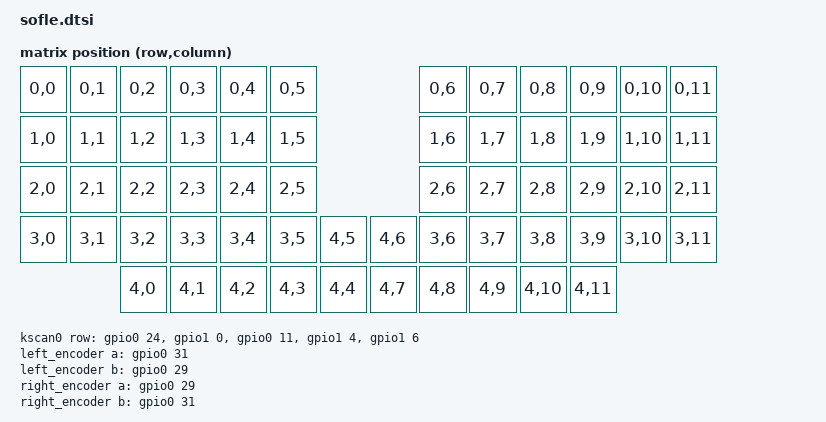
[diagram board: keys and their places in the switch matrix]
/*
* pro_micro == D
* nrf       == gpio
*                    _________________________
*                    |o B+               B- o|
*                    |o RAW             006 o| gpio0 6  D1    LED
*                    |o GND             008 o| gpio0 8  D0    DATA
*                    |o RST             GND o|
*                    |o VCC             GND o|
* ENCA  D21 gpio0 31 |o 031  SuperMini  017 o| gpio0 17 D2    SDA
* ENCB  D20 gpio0 29 |o 029  NRF52840   020 o| gpio0 20 D3    SCL
* COL0  D19 gpio0 2  |o 002             022 o| gpio0 22 D4    
* COL1  D18 gpio1 15 |o 115             024 o| gpio0 24 D5    ROW0
* COL2  D15 gpio1 13 |o 113 o VDD 1 1 1 100 o| gpio1 0  D6    ROW1
* COL3  D14 gpio1 11 |o 111 o DIO 0 0 0 011 o| gpio0 11 D7    ROW2
* COL4  D16 gpio0 10 |o 010 o CLK 7 2 1 104 o| gpio1 4  D8    ROW3
* SW25A D10 gpio0 9  |o 009 o GND o o o 106 o| gpio1 6  D9    ROW4
*                    -------------------------
*                                 | | \ gpio1 1
*                                 | \__ gpio1 2
*                                 \____ gpio1 7
*/

#include <dt-bindings/zmk/matrix_transform.h>
#include <layouts/josefadamcik/sofle.dtsi>

&josefadamcik_sofle_layout {
    transform = <&default_transform>;
};

/ {
    chosen {
        zmk,kscan = &kscan0;
        zmk,battery = &vbatt;
        zephyr,display = &oled;
    };

    default_transform: keymap_transform_0 {
        compatible = "zmk,matrix-transform";
        columns = <16>;
        rows = <4>;
// | SW6  | SW5  | SW4  | SW3  | SW2  | SW1  |                 | SW1  | SW2  | SW3  | SW4  | SW5  | SW6  |
// | SW12 | SW11 | SW10 | SW9  | SW8  | SW7  |                 | SW7  | SW8  | SW9  | SW10 | SW11 | SW12 |
// | SW18 | SW17 | SW16 | SW15 | SW14 | SW13 |                 | SW13 | SW14 | SW15 | SW16 | SW17 | SW18 |
// | SW24 | SW23 | SW22 | SW21 | SW20 | SW19 | SW25 |   | SW25 | SW19 | SW20 | SW21 | SW22 | SW23 | SW24 |
//               | SW30 | SW29 | SW28 | SW27 | SW26 |   | SW26 | SW27 | SW28 | SW29 | SW30 |
        map = <
RC(0,0) RC(0,1) RC(0,2) RC(0,3) RC(0,4) RC(0,5)                 RC(0,6) RC(0,7) RC(0,8)  RC(0,9) RC(0,10) RC(0,11)
RC(1,0) RC(1,1) RC(1,2) RC(1,3) RC(1,4) RC(1,5)                 RC(1,6) RC(1,7) RC(1,8)  RC(1,9) RC(1,10) RC(1,11)
RC(2,0) RC(2,1) RC(2,2) RC(2,3) RC(2,4) RC(2,5)                 RC(2,6) RC(2,7) RC(2,8)  RC(2,9) RC(2,10) RC(2,11)
RC(3,0) RC(3,1) RC(3,2) RC(3,3) RC(3,4) RC(3,5) RC(4,5) RC(4,6) RC(3,6) RC(3,7) RC(3,8)  RC(3,9) RC(3,10) RC(3,11)
                RC(4,0) RC(4,1) RC(4,2) RC(4,3) RC(4,4) RC(4,7) RC(4,8) RC(4,9) RC(4,10) RC(4,11)
        >;
    };

    kscan0: kscan {
        compatible = "zmk,kscan-gpio-matrix";
        wakeup-source;

        diode-direction = "col2row";
        row-gpios
            = <&gpio0 24 (GPIO_ACTIVE_HIGH | GPIO_PULL_DOWN)>,
              <&gpio1 0  (GPIO_ACTIVE_HIGH | GPIO_PULL_DOWN)>,
              <&gpio0 11 (GPIO_ACTIVE_HIGH | GPIO_PULL_DOWN)>,
              <&gpio1 4  (GPIO_ACTIVE_HIGH | GPIO_PULL_DOWN)>,
              <&gpio1 6  (GPIO_ACTIVE_HIGH | GPIO_PULL_DOWN)>;
    };

    left_encoder: encoder_left {
        compatible = "alps,ec11";
        a-gpios = <&gpio0 31 (GPIO_ACTIVE_HIGH | GPIO_PULL_UP)>;
        b-gpios = <&gpio0 29 (GPIO_ACTIVE_HIGH | GPIO_PULL_UP)>;
        steps = <80>; // realStep*4
        status = "disabled";
    };

    right_encoder: encoder_right {
        compatible = "alps,ec11";
        a-gpios = <&gpio0 29 (GPIO_ACTIVE_HIGH | GPIO_PULL_UP)>;
        b-gpios = <&gpio0 31 (GPIO_ACTIVE_HIGH | GPIO_PULL_UP)>;
        steps = <80>; // realStep*4
        status = "disabled";
    };

    sensors: sensors {
        compatible = "zmk,keymap-sensors";
        sensors = <&left_encoder &right_encoder>;
        triggers-per-rotation = <20>; // realStep
    };
};

&pinctrl {
    i2c0_default: i2c0_default {
        group1 {
            psels = <NRF_PSEL(TWIM_SDA, 0, 17)>,
                    <NRF_PSEL(TWIM_SCL, 0, 20)>;
        };
    };

    i2c0_sleep: i2c0_sleep {
        group1 {
            psels = <NRF_PSEL(TWIM_SDA, 0, 17)>,
                    <NRF_PSEL(TWIM_SCL, 0, 20)>;
            low-power-enable;
        };
    };
};

/ { 
    tps43_listener: tps43_listener {
    compatible = "zmk,input-listener";
    // status = "disabled";
    device = <&tps43>;
    };
};

vbatt: vbatt {
        compatible = "zmk,battery-nrf-vddh";
    };

&i2c0 {
    status = "okay";
    pinctrl-0 = <&i2c0_default>;
    pinctrl-1 = <&i2c0_sleep>;
    pinctrl-names = "default", "sleep";
    clock-frequency = <I2C_BITRATE_STANDARD>;

    oled: ssd1306@3c {
        compatible = "solomon,ssd1306fb";
        reg = <0x3c>;
        width = <128>;
        height = <32>;
        segment-offset = <0>;
        page-offset = <0>;
        display-offset = <0>;
        multiplex-ratio = <31>;
        segment-remap;
        com-invdir;
        com-sequential;
        inversion-on;
        prechargep = <0x22>;
    };
};

/ {
	

    split_inputs {
        #address-cells = <1>;
        #size-cells = <0>;

        tps43_split: tps43_split@74 {
            compatible = "zmk,input-split";
            reg = <0x74>;
        };
    };

	tps43_listener: tps43_listener {
        compatible = "zmk,input-listener";
        status = "disabled";
        device = <&tps43_split>;
        input-processors = <&zip_xy_transform (INPUT_TRANSFORM_XY_SWAP | INPUT_TRANSFORM_X_INVERT)>, <&zip_scroll_transform (INPUT_TRANSFORM_XY_SWAP)>;
    };
};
